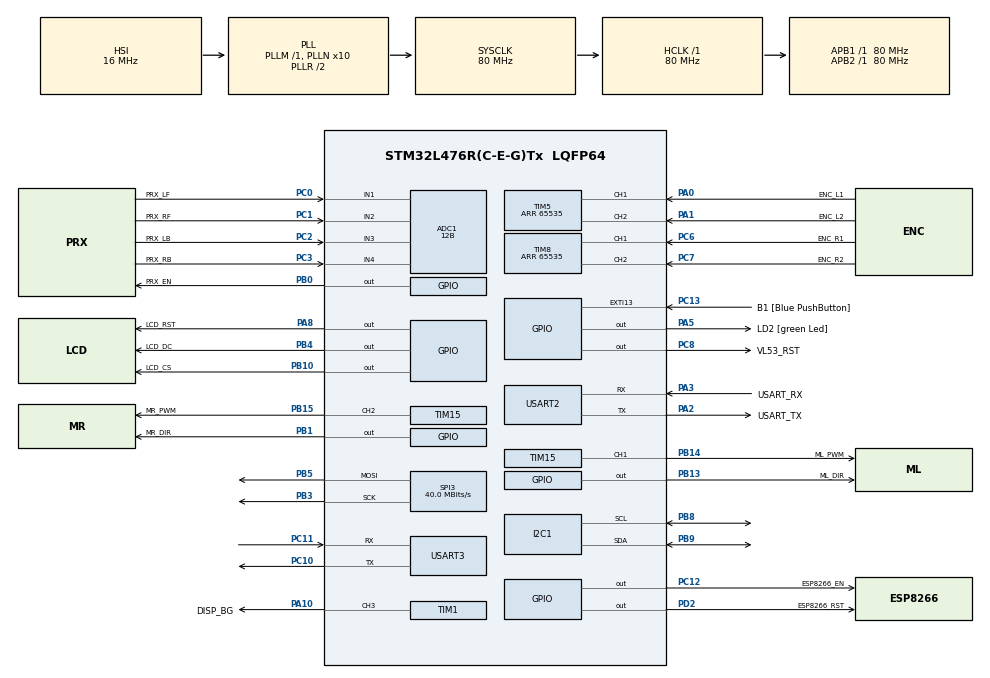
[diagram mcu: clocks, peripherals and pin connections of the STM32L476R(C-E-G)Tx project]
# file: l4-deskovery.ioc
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ADC1.ClockPrescaler=ADC_CLOCK_ASYNC_DIV256
ADC1.EOCSelection=ADC_EOC_SEQ_CONV
ADC1.EnableInjectedConversion=ENABLE
ADC1.EnableRegularConversion=DISABLE
ADC1.InjNumberOfConversion=4
ADC1.InjectedChannel-1\#ChannelInjectedConversion=ADC_CHANNEL_1
ADC1.InjectedChannel-2\#ChannelInjectedConversion=ADC_CHANNEL_2
ADC1.InjectedChannel-3\#ChannelInjectedConversion=ADC_CHANNEL_3
ADC1.InjectedChannel-4\#ChannelInjectedConversion=ADC_CHANNEL_4
ADC1.InjectedOffsetNumber-1\#ChannelInjectedConversion=ADC_OFFSET_NONE
ADC1.InjectedOffsetNumber-2\#ChannelInjectedConversion=ADC_OFFSET_NONE
ADC1.InjectedOffsetNumber-3\#ChannelInjectedConversion=ADC_OFFSET_NONE
ADC1.InjectedOffsetNumber-4\#ChannelInjectedConversion=ADC_OFFSET_NONE
ADC1.InjectedRank-1\#ChannelInjectedConversion=1
ADC1.InjectedRank-2\#ChannelInjectedConversion=2
ADC1.InjectedRank-3\#ChannelInjectedConversion=3
ADC1.InjectedRank-4\#ChannelInjectedConversion=4
ADC1.InjectedSamplingTime-1\#ChannelInjectedConversion=ADC_SAMPLETIME_640CYCLES_5
ADC1.InjectedSamplingTime-2\#ChannelInjectedConversion=ADC_SAMPLETIME_640CYCLES_5
ADC1.InjectedSamplingTime-3\#ChannelInjectedConversion=ADC_SAMPLETIME_640CYCLES_5
ADC1.InjectedSamplingTime-4\#ChannelInjectedConversion=ADC_SAMPLETIME_640CYCLES_5
ADC1.Rank1_Channel=ADC_CHANNEL_1
ADC1.Rank2_Channel=ADC_CHANNEL_2
ADC1.Rank3_Channel=ADC_CHANNEL_3
ADC1.Rank4_Channel=ADC_CHANNEL_4
ADC1.Resolution=ADC_RESOLUTION_12B
ADC1.master=1
Mcu.Family=STM32L4
Mcu.Name=STM32L476R(C-E-G)Tx
Mcu.Package=LQFP64
NVIC.ADC1_2_IRQn=true\:0\:0\:false\:false\:true\:true\:true
NVIC.PriorityGroup=NVIC_PRIORITYGROUP_4
NVIC.USART3_IRQn=true\:0\:0\:false\:false\:true\:true\:false
PA0.GPIO_Label=ENC_L1
PA0.GPIO_PuPd=GPIO_PULLUP
PA0.Signal=S_TIM5_CH1
PA1.GPIO_Label=ENC_L2
PA1.GPIO_PuPd=GPIO_PULLUP
PA1.Signal=S_TIM5_CH2
PA10.GPIO_Label=DISP_BG
PA10.GPIO_Speed=GPIO_SPEED_FREQ_MEDIUM
PA10.Signal=S_TIM1_CH3
PA13\ (JTMS-SWDIO).GPIO_Label=TMS
PA13\ (JTMS-SWDIO).Mode=Serial_Wire
PA13\ (JTMS-SWDIO).Signal=SYS_JTMS-SWDIO
PA14\ (JTCK-SWCLK).GPIO_Label=TCK
PA14\ (JTCK-SWCLK).Mode=Serial_Wire
PA14\ (JTCK-SWCLK).Signal=SYS_JTCK-SWCLK
PA2.GPIO_Label=USART_TX
PA2.GPIO_Mode=GPIO_MODE_AF_PP
PA2.GPIO_PuPd=GPIO_NOPULL
PA2.GPIO_Speed=GPIO_SPEED_FREQ_VERY_HIGH
PA2.Mode=Asynchronous
PA2.Signal=USART2_TX
PA3.GPIO_Label=USART_RX
PA3.GPIO_Mode=GPIO_MODE_AF_PP
PA3.GPIO_PuPd=GPIO_NOPULL
PA3.GPIO_Speed=GPIO_SPEED_FREQ_VERY_HIGH
PA3.Mode=Asynchronous
PA3.Signal=USART2_RX
PA5.GPIO_Label=LD2 [green Led]
PA5.GPIO_ModeDefaultOutputPP=GPIO_MODE_OUTPUT_PP
PA5.GPIO_PuPd=GPIO_NOPULL
PA5.GPIO_Speed=GPIO_SPEED_FREQ_VERY_HIGH
PA5.Signal=GPIO_Output
PA8.GPIO_Label=LCD_RST
PA8.GPIO_Speed=GPIO_SPEED_FREQ_VERY_HIGH
PA8.Signal=GPIO_Output
PB0.GPIO_Label=PRX_EN
PB0.GPIO_Speed=GPIO_SPEED_FREQ_VERY_HIGH
PB0.Signal=GPIO_Output
PB1.GPIO_Label=MR_DIR
PB1.GPIO_Speed=GPIO_SPEED_FREQ_VERY_HIGH
PB1.Signal=GPIO_Output
PB10.GPIO_Label=LCD_CS
PB10.GPIO_Speed=GPIO_SPEED_FREQ_VERY_HIGH
PB10.Signal=GPIO_Output
PB13.GPIO_Label=ML_DIR
PB13.GPIO_Speed=GPIO_SPEED_FREQ_VERY_HIGH
PB13.Signal=GPIO_Output
PB14.GPIO_Label=ML_PWM
PB14.Signal=S_TIM15_CH1
PB15.GPIO_Label=MR_PWM
PB15.Signal=S_TIM15_CH2
PB3\ (JTDO-TRACESWO).Mode=TX_Only_Simplex_Unidirect_Master
PB3\ (JTDO-TRACESWO).Signal=SPI3_SCK
PB4\ (NJTRST).GPIO_Label=LCD_DC
PB4\ (NJTRST).GPIO_Speed=GPIO_SPEED_FREQ_VERY_HIGH
PB4\ (NJTRST).Signal=GPIO_Output
PB5.Mode=TX_Only_Simplex_Unidirect_Master
PB5.Signal=SPI3_MOSI
PB8.Mode=I2C
PB8.Signal=I2C1_SCL
PB9.Mode=I2C
PB9.Signal=I2C1_SDA
PC0.GPIO_Label=PRX_LF
PC0.Signal=ADCx_IN1
PC1.GPIO_Label=PRX_RF
PC1.Signal=ADCx_IN2
PC10.Mode=Asynchronous
PC10.Signal=USART3_TX
PC11.Mode=Asynchronous
PC11.Signal=USART3_RX
PC12.GPIO_Label=ESP8266_EN
PC12.PinState=GPIO_PIN_SET
PC12.Signal=GPIO_Output
PC13.GPIO_Label=B1 [Blue PushButton]
PC13.GPIO_ModeDefaultEXTI=GPIO_MODE_IT_FALLING
PC13.GPIO_PuPd=GPIO_NOPULL
PC13.Signal=GPXTI13
PC14-OSC32_IN\ (PC14).Mode=LSE-External-Oscillator
PC14-OSC32_IN\ (PC14).Signal=RCC_OSC32_IN
PC15-OSC32_OUT\ (PC15).Mode=LSE-External-Oscillator
PC15-OSC32_OUT\ (PC15).Signal=RCC_OSC32_OUT
PC2.GPIO_Label=PRX_LB
PC2.Signal=ADCx_IN3
PC3.GPIO_Label=PRX_RB
PC3.Signal=ADCx_IN4
PC6.GPIO_Label=ENC_R1
PC6.GPIO_PuPd=GPIO_PULLUP
PC6.Signal=S_TIM8_CH1
PC7.GPIO_Label=ENC_R2
PC7.GPIO_PuPd=GPIO_PULLUP
PC7.Signal=S_TIM8_CH2
PC8.GPIO_Label=VL53_RST
PC8.GPIO_Speed=GPIO_SPEED_FREQ_VERY_HIGH
PC8.Signal=GPIO_Output
PD2.GPIO_Label=ESP8266_RST
PD2.PinState=GPIO_PIN_SET
PD2.Signal=GPIO_Output
PH0-OSC_IN\ (PH0).Signal=RCC_OSC_IN
PH1-OSC_OUT\ (PH1).Signal=RCC_OSC_OUT
ProjectManager.HeapSize=0x1200
ProjectManager.StackSize=0x1400
ProjectManager.TargetToolchain=SW4STM32
RCC.ADCCLockSelection=RCC_ADCCLKSOURCE_SYSCLK
RCC.ADCFreq_Value=80000000
RCC.AHBFreq_Value=80000000
RCC.APB1Freq_Value=80000000
RCC.APB1TimFreq_Value=80000000
RCC.APB2Freq_Value=80000000
RCC.APB2TimFreq_Value=80000000
RCC.CortexFreq_Value=80000000
RCC.HCLKFreq_Value=80000000
RCC.HSE_VALUE=8000000
RCC.HSI_VALUE=16000000
RCC.MSIClockRange=RCC_MSIRANGE_8
RCC.MSI_VALUE=16000000
RCC.PLLN=10
RCC.PLLSourceVirtual=RCC_PLLSOURCE_HSI
RCC.PREFETCH_ENABLE=1
RCC.SYSCLKFreq_VALUE=80000000
RCC.SYSCLKSource=RCC_SYSCLKSOURCE_PLLCLK
RCC.USBFreq_Value=64000000
RCC.VCOOutputFreq_Value=160000000
SH.ADCx_IN1.0=ADC1_IN1,IN1-Single-Ended
SH.ADCx_IN2.0=ADC1_IN2,IN2-Single-Ended
SH.ADCx_IN3.0=ADC1_IN3,IN3-Single-Ended
SH.ADCx_IN4.0=ADC1_IN4,IN4-Single-Ended
SH.S_TIM15_CH1.0=TIM15_CH1,PWM Generation1 CH1
SH.S_TIM15_CH2.0=TIM15_CH2,PWM Generation2 CH2
SH.S_TIM1_CH3.0=TIM1_CH3,PWM Generation3 CH3
SH.S_TIM5_CH1.0=TIM5_CH1,Encoder_Interface
SH.S_TIM5_CH2.0=TIM5_CH2,Encoder_Interface
SH.S_TIM8_CH1.0=TIM8_CH1,Encoder_Interface
SH.S_TIM8_CH2.0=TIM8_CH2,Encoder_Interface
SPI3.CalculateBaudRate=40.0 MBits/s
SPI3.DataSize=SPI_DATASIZE_8BIT
SPI3.Direction=SPI_DIRECTION_2LINES
SPI3.Mode=SPI_MODE_MASTER
SPI3.VirtualType=VM_MASTER
TIM1.Channel-PWM\ Generation3\ CH3=TIM_CHANNEL_3
TIM1.OCIdleState_3=TIM_OCIDLESTATE_SET
TIM1.Period=100
TIM1.Prescaler=79
TIM1.Pulse-PWM\ Generation3\ CH3=40
TIM15.Channel-PWM\ Generation1\ CH1=TIM_CHANNEL_1
TIM15.Channel-PWM\ Generation2\ CH2=TIM_CHANNEL_2
TIM15.Period=999
TIM15.Prescaler=79
TIM5.Period=65535
TIM8.EncoderMode=TIM_ENCODERMODE_TI1
TIM8.Period=65535
USART2.VirtualMode-Asynchronous=VM_ASYNC
USART3.VirtualMode-Asynchronous=VM_ASYNC
VP_TIM15_VS_ClockSourceINT.Mode=Internal
board=NUCLEO-L476RG

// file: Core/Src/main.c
/* USER CODE BEGIN Header */
/**
  ******************************************************************************
  * @file           : main.c
  * @brief          : Main program body
  ******************************************************************************
  * @attention
  *
  * <h2><center>&copy; Copyright (c) 2019 STMicroelectronics.
  * All rights reserved.</center></h2>
  *
  * This software component is licensed by ST under BSD 3-Clause license,
  * the "License"; You may not use this file except in compliance with the
  * License. You may obtain a copy of the License at:
  *                        opensource.org/licenses/BSD-3-Clause
  *
  ******************************************************************************
  */
/* USER CODE END Header */

#include "main.h"
#include "adc.h"
#include "i2c.h"
#include "spi.h"
#include "tim.h"
#include "usart.h"
#include "gpio.h"

/* USER CODE BEGIN Includes */
#include "ILI9341_GFX.h"
/* USER CODE END Includes */

void SystemClock_Config(void);
/* USER CODE BEGIN PFP */
void measureAll(void);

/* USER CODE END PFP */

/* USER CODE BEGIN 0 */
void measureAll() {
    char buf[100];

    snprintf(buf, sizeof(buf), "L Enc: %07ld", delegate_left_ticks());
    ILI9341_Draw_Text(buf, 0, 5, BLACK, 1, WHITE);

    snprintf(buf, sizeof(buf), "R Enc: %07ld", delegate_right_ticks());
    ILI9341_Draw_Text(buf, 0, 12, BLACK, 1, WHITE);

    ILI9341_Draw_Char(prxData.alarms[PRX_BR] ? 'A' : '.', 3 * 6, 3 * 8, BLACK, 1, WHITE);
    ILI9341_Draw_Char(prxData.alarms[PRX_BL] ? 'A' : '.', 4 * 6, 3 * 8, BLACK, 1, WHITE);
    ILI9341_Draw_Char(prxData.alarms[PRX_FR] ? 'A' : '.', 3 * 6, 4 * 8, BLACK, 1, WHITE);
    ILI9341_Draw_Char(prxData.alarms[PRX_FL] ? 'A' : '.', 4 * 6, 4 * 8, BLACK, 1, WHITE);

}

/* USER CODE END 0 */

int main(void)
{

  /* MCU Configuration--------------------------------------------------------*/

  /* Reset of all peripherals, Initializes the Flash interface and the Systick. */
  HAL_Init();

  /* Configure the system clock */
  SystemClock_Config();

  /* Initialize all configured peripherals */
  MX_GPIO_Init();
  MX_ADC1_Init();
  MX_I2C1_Init();
  MX_TIM5_Init();
  MX_TIM8_Init();
  MX_TIM15_Init();
  MX_USART2_UART_Init();
  MX_USART3_UART_Init();
  MX_SPI3_Init();
  MX_TIM1_Init();
  /* USER CODE BEGIN 2 */
    deskoveryInit();
    rust_main();
  /* USER CODE END 2 */

  /* Infinite loop */
  /* USER CODE BEGIN WHILE */
#pragma clang diagnostic push
#pragma clang diagnostic ignored "-Wmissing-noreturn"
  while (1)
  {
    /* USER CODE END WHILE */

    /* USER CODE BEGIN 3 */
  }
#pragma clang diagnostic pop
  /* USER CODE END 3 */
}

void SystemClock_Config(void)
{
  RCC_OscInitTypeDef RCC_OscInitStruct = {0};
  RCC_ClkInitTypeDef RCC_ClkInitStruct = {0};
  RCC_PeriphCLKInitTypeDef PeriphClkInit = {0};

  /** Initializes the CPU, AHB and APB busses clocks
  */
  RCC_OscInitStruct.OscillatorType = RCC_OSCILLATORTYPE_HSI;
  RCC_OscInitStruct.HSIState = RCC_HSI_ON;
  RCC_OscInitStruct.HSICalibrationValue = RCC_HSICALIBRATION_DEFAULT;
  RCC_OscInitStruct.PLL.PLLState = RCC_PLL_ON;
  RCC_OscInitStruct.PLL.PLLSource = RCC_PLLSOURCE_HSI;
  RCC_OscInitStruct.PLL.PLLM = 1;
  RCC_OscInitStruct.PLL.PLLN = 10;
  RCC_OscInitStruct.PLL.PLLP = RCC_PLLP_DIV7;
  RCC_OscInitStruct.PLL.PLLQ = RCC_PLLQ_DIV2;
  RCC_OscInitStruct.PLL.PLLR = RCC_PLLR_DIV2;
  if (HAL_RCC_OscConfig(&RCC_OscInitStruct) != HAL_OK)
  {
    Error_Handler();
  }
  /** Initializes the CPU, AHB and APB busses clocks
  */
  RCC_ClkInitStruct.ClockType = RCC_CLOCKTYPE_HCLK|RCC_CLOCKTYPE_SYSCLK
                              |RCC_CLOCKTYPE_PCLK1|RCC_CLOCKTYPE_PCLK2;
  RCC_ClkInitStruct.SYSCLKSource = RCC_SYSCLKSOURCE_PLLCLK;
  RCC_ClkInitStruct.AHBCLKDivider = RCC_SYSCLK_DIV1;
  RCC_ClkInitStruct.APB1CLKDivider = RCC_HCLK_DIV1;
  RCC_ClkInitStruct.APB2CLKDivider = RCC_HCLK_DIV1;

  if (HAL_RCC_ClockConfig(&RCC_ClkInitStruct, FLASH_LATENCY_4) != HAL_OK)
  {
    Error_Handler();
  }
  PeriphClkInit.PeriphClockSelection = RCC_PERIPHCLK_USART2|RCC_PERIPHCLK_USART3
                              |RCC_PERIPHCLK_I2C1|RCC_PERIPHCLK_ADC;
  PeriphClkInit.Usart2ClockSelection = RCC_USART2CLKSOURCE_PCLK1;
  PeriphClkInit.Usart3ClockSelection = RCC_USART3CLKSOURCE_PCLK1;
  PeriphClkInit.I2c1ClockSelection = RCC_I2C1CLKSOURCE_PCLK1;
  PeriphClkInit.AdcClockSelection = RCC_ADCCLKSOURCE_SYSCLK;
  if (HAL_RCCEx_PeriphCLKConfig(&PeriphClkInit) != HAL_OK)
  {
    Error_Handler();
  }
  /** Configure the main internal regulator output voltage
  */
  if (HAL_PWREx_ControlVoltageScaling(PWR_REGULATOR_VOLTAGE_SCALE1) != HAL_OK)
  {
    Error_Handler();
  }
}

void Error_Handler(void)
{
  /* USER CODE BEGIN Error_Handler_Debug */
  /* User can add his own implementation to report the HAL error return state */
    MX_GPIO_Init();
#pragma clang diagnostic push
#pragma clang diagnostic ignored "-Wmissing-noreturn"
    while(true)
    {
        HAL_GPIO_TogglePin(LD2_GPIO_Port,LD2_Pin);
        HAL_Delay(200);
    }
#pragma clang diagnostic pop
  /* USER CODE END Error_Handler_Debug */
}

/************************ (C) COPYRIGHT STMicroelectronics *****END OF FILE****/
